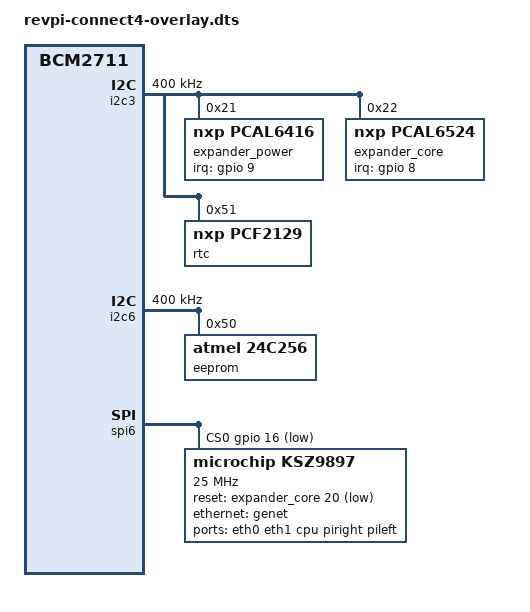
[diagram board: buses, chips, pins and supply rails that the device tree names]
// SPDX-License-Identifier: GPL-2.0-only
/dts-v1/;
/plugin/;
#include <dt-bindings/gpio/gpio.h>
#include <dt-bindings/pinctrl/bcm2835.h>

/ {
	compatible = "brcm,bcm2711";

	fragment@0 {
		target-path = "/";
		__overlay__ {
			compatible = "kunbus,revpi-connect4", "brcm,bcm2711";
		};
	};

	/* PINMUX */
	fragment@1 {
		target = <&gpio>;
		__overlay__ {
			i2c3_pins: i2c3_pins {
				/* SDA, SCL */
				brcm,pins     = <2 3>;
				brcm,function = <BCM2835_FSEL_ALT5>;
			};
			exp_core_pins: exp_core_pins {
				brcm,pins     = <8>;
				brcm,function = <BCM2835_FSEL_GPIO_IN>;
				brcm,pull     = <BCM2835_PUD_OFF>;
			};
			exp_power_pins: exp_power_pins {
				brcm,pins     = <9>;
				brcm,function = <BCM2835_FSEL_GPIO_IN>;
				brcm,pull     = <BCM2835_PUD_OFF>;
			};
			i2c6_pins: i2c6_pins {
				/* SDA (ID_SD), SCL (ID_SC)*/
				brcm,pins     = <0 1>;
				brcm,function = <BCM2835_FSEL_ALT5>;
			};
			spi6_pins: spi6_pins {
				/* MISO, MOSI, SCLK */
				brcm,pins     = <19 20 21>;
				brcm,function = <BCM2835_FSEL_ALT3>;
			};
			spi6_cs_pins: spi6_cs_pins {
				/* ksz9897 */
				brcm,pins     = <16>;
				brcm,function = <BCM2835_FSEL_GPIO_OUT>;
			};
		};
	};

	/* I2C3 */
	fragment@2 {
		target = <&i2c3>;
		__overlay__ {
			#address-cells = <1>;
			#size-cells = <0>;
			pinctrl-names = "default";
			pinctrl-0 = <&i2c3_pins>;
			clock-frequency = <400000>;
			status = "okay";

			expander_power: gpio@21 {
				/* 100kHz, 400kHz */
				compatible = "nxp,pcal6416";
				pinctrl-names = "default";
				pinctrl-0 = <&exp_power_pins>;
				reg = <0x21>;
				gpio-controller;
				#gpio-cells = <2>;
				status = "okay";
				interrupt-controller;
				#interrupt-cells = <2>;
				interrupt-parent = <&gpio>;
				interrupts = <9 IRQ_TYPE_LEVEL_LOW>;
			};

			expander_core: gpio@22 {
				/* 100kHz, 400kHz */
				compatible = "nxp,pcal6524";
				pinctrl-names = "default";
				pinctrl-0 = <&exp_core_pins>;
				reg = <0x22>;
				gpio-controller;
				#gpio-cells = <2>;
				status = "okay";
				interrupt-controller;
				#interrupt-cells = <2>;
				interrupt-parent = <&gpio>;
				interrupts = <8 IRQ_TYPE_LEVEL_LOW>;
			};

			rtc@51 {
				/* 100kHz, 400kHz */
				compatible = "nxp,pcf2129";
				reg = <0x51>;
				status = "okay";
				reset-source;
			};
		};
	};

	/* I2C6 */
	fragment@3 {
		target = <&i2c6>;
		__overlay__ {
			#address-cells = <1>;
			#size-cells = <0>;
			pinctrl-names = "default";
			pinctrl-0 = <&i2c6_pins>;
			clock-frequency = <400000>;
			status = "okay";

			eeprom: eeprom@50 {
				/* 100kHz, 400kHz or 1MHz */
				compatible = "atmel,24c256";
				reg = <0x50>;
				pagesize = <64>;
				status = "okay";
			};
		};
	};

	/* SPI6 */
	fragment@4 {
		target = <&spi6>;
		__overlay__ {
			#address-cells = <1>;
			#size-cells = <0>;
			pinctrl-names = "default";
			pinctrl-0 = <&spi6_pins>, <&spi6_cs_pins>;
			cs-gpios = <&gpio 16 GPIO_ACTIVE_LOW>;
			status = "okay";

			ksz9897: ksz9897@0 {
				compatible = "microchip,ksz9897";
				reg = <0>;
				spi-max-frequency = <25000000>;
				spi-cpha;
				spi-cpol;
				reset-gpios = <&expander_core 20 GPIO_ACTIVE_LOW>;
				status = "okay";

				ports {
					#address-cells = <1>;
					#size-cells = <0>;
					/* PORT 1 */
					port@0 {
						reg = <0>;
						label = "eth0";
					};
					/* PORT 2 */
					port@1 {
						reg = <1>;
						label = "eth1";
					};
					/* PORT 3 */
					port@2 {
						reg = <2>;
						label = "cpu";
						ethernet = <&genet>;
					};
					/* PORT 4 */
					port@3 {
						reg = <3>;
						label = "piright";
					};
					/* PORT 5 */
					port@4 {
						reg = <4>;
						label = "pileft";
					};
					/*
					 * PORT 6, 7 are unused
					 */
				};
			};
		};
	};
};
